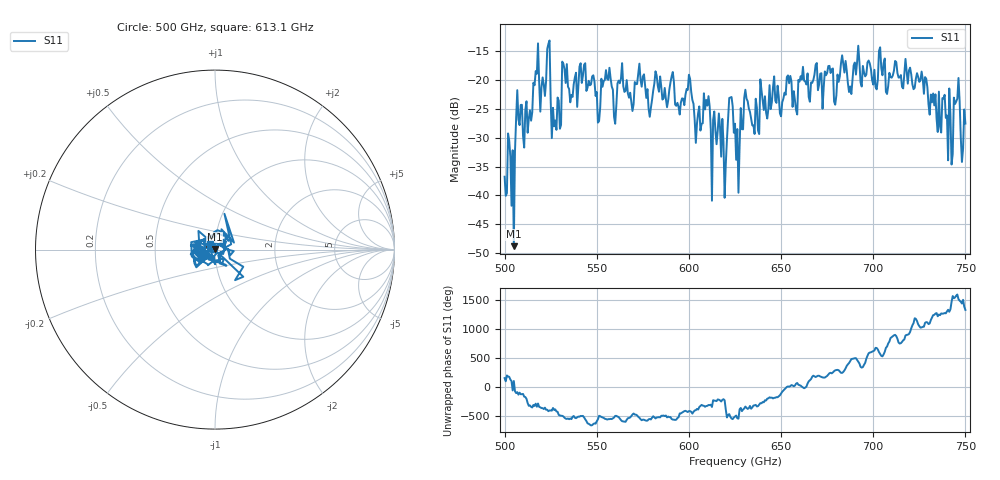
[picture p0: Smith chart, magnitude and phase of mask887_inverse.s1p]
!Created with skrf (http://scikit-rf.org).
# GHz S MA R 50.0
!freq magS11 angS11
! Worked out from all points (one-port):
!   401 points, 500 GHz to 750 GHz, reference 50 ohm
!   lowest |S11| = -48.8 dB at 505 GHz (marker M1), VSWR 1.01, Z = 49.9 + j0.355 ohm
!   |S11| at or under -10 dB: start of sweep to end of sweep
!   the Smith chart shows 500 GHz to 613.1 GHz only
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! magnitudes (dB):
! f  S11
! 500 GHz  -36.8
! 505 GHz  -48.8
! 507.5 GHz  -26.8
! 513.8 GHz  -25.3
! 516.9 GHz  -18.5
! 520.6 GHz  -19.6
! 523.8 GHz  -13.8
! 526.9 GHz  -28.1
! 531.2 GHz  -16.9
! 542.5 GHz  -19.3
! 550.6 GHz  -27.4
! 562.5 GHz  -20.6
! 579.4 GHz  -24.8
! 590.6 GHz  -19.4
! 593.8 GHz  -24.0
! 609.4 GHz  -23.5
! 618.8 GHz  -30.8
! 622.5 GHz  -23.1
! 625 GHz  -27.6
! 656.2 GHz  -24.7
! 680 GHz  -22.7
! 683.8 GHz  -17.2
! 687.5 GHz  -21.2
! 691.2 GHz  -16.9
! 718.8 GHz  -20.7
! 741.9 GHz  -26.0
! 745 GHz  -23.8
! 750 GHz  -27.6
